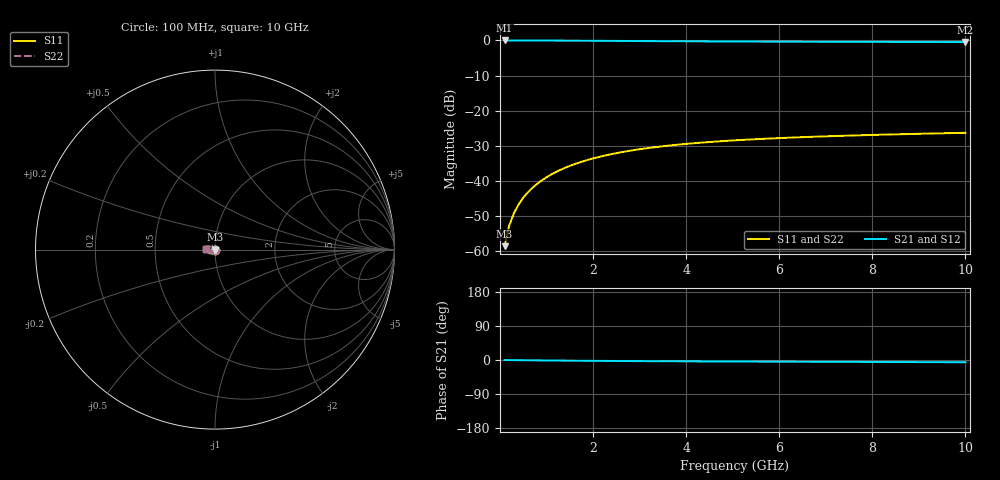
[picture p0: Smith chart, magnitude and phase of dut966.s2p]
! Touchstone file exported from HFSS 2024.1.0
!  File:  C:/UserFiles/LocalFiles/RDL_TSV_Batchsim/temp_TSV1_966_1779950636.aedt
!  Generated:  02:49:53 PM May 28, 2026
!  Design:  TSV1
!  Project:  temp_TSV1_966_1779950636
!  Setup:  Setup1
!  Solution:  Sweep
! Variables:
!  dtsv = 8.02um
!  hbump = 3um
!  htsv = 94.21um
!  lrdl = 252.1521522um
!  p = 40
!  p1 = 42.68um
!  t = 500um
!  trdl = 3um
!  wrdl = 24.89489489um
# GHz S MA R 50.000000
! Terminal data exported
! Port[1] = TSV22_T1
! Port[2] = TSV22_T2
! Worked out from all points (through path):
!   100 points, 100 MHz to 10 GHz, reference 50 ohm
!   highest |S21| = 0.00 dB at 100 MHz (marker M1); lowest = -0.5 dB at 10 GHz (marker M2)
!   lowest |S11| = -58.7 dB at 100 MHz (marker M3), VSWR 1.00, Z = 50 - j0.114 ohm
!   |S11| at or under -10 dB: start of sweep to end of sweep
!   |S22| runs from -58.7 to -26.3 dB; largest |S21 - S12| = 4.3e-15
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0.1  0.001165 -79.1  0.9997 -0.1  0.9997 -0.1  0.001165 -79.1
! Gamma 0 0 0 0
! Port Impedance 50 0 50 0
0.2  0.002298 -86.7  0.9996 -0.3  0.9996 -0.3  0.002298 -86.7
0.3  0.003441 -90.4  0.9994 -0.4  0.9994 -0.4  0.003441 -90.4
0.4  0.00458 -93.1  0.9992 -0.5  0.9992 -0.5  0.00458 -93.1
0.5  0.005712 -95.4  0.9989 -0.6  0.9989 -0.6  0.005712 -95.4
0.6  0.006834 -97.5  0.9985 -0.7  0.9985 -0.7  0.006834 -97.5
0.7  0.007945 -99.4  0.9981 -0.9  0.9981 -0.9  0.007945 -99.4
0.8  0.009042 -101.2  0.9976 -1.0  0.9976 -1.0  0.009042 -101.2
0.9  0.01012 -103.0  0.9971 -1.1  0.9971 -1.1  0.01012 -103.0
1.1  0.01224 -106.4  0.9959 -1.3  0.9959 -1.3  0.01224 -106.4
1.4  0.01527 -111.2  0.9939 -1.7  0.9939 -1.7  0.01527 -111.2
1.6  0.01719 -114.3  0.9923 -1.9  0.9923 -1.9  0.01719 -114.3
1.8  0.01902 -117.2  0.9907 -2.0  0.9907 -2.0  0.01902 -117.2
2.1  0.02158 -121.4  0.9881 -2.3  0.9881 -2.3  0.02159 -121.4
2.5  0.02469 -126.7  0.9847 -2.6  0.9847 -2.6  0.02469 -126.7
2.9  0.02745 -131.6  0.9812 -2.9  0.9812 -2.9  0.02745 -131.6
3.4  0.03045 -137.2  0.9771 -3.2  0.9771 -3.2  0.03045 -137.2
4.2  0.03437 -145.1  0.9712 -3.6  0.9712 -3.6  0.03437 -145.1
5.1  0.0378 -152.7  0.9656 -4.0  0.9656 -4.0  0.0378 -152.7
6.7  0.04224 -163.9  0.9582 -4.7  0.9582 -4.7  0.04224 -163.9
8.4  0.04563 -173.5  0.9528 -5.3  0.9528 -5.3  0.04563 -173.5
10  0.04818 179.0  0.9492 -5.9  0.9492 -5.9  0.04818 179.0
